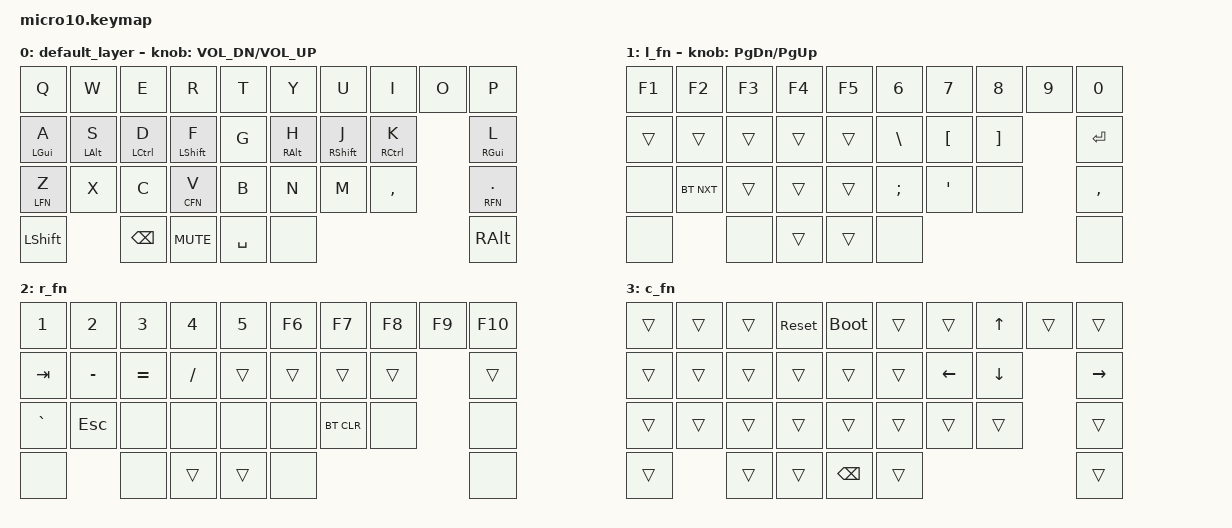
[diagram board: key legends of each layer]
/*
 * Copyright (c) 2020 The ZMK Contributors
 *
 * SPDX-License-Identifier: MIT
 */

#include <behaviors.dtsi>
#include <dt-bindings/zmk/keys.h>
#include <dt-bindings/zmk/bt.h>

#define DEFAULT 0
#define LFN    1
#define RFN    2
#define CFN    3

/ {
    behaviors {
       
        lm: left_homerow_mods {
            compatible = "zmk,behavior-hold-tap";
            label = "LEFT_HOMEROW_MODS";
            #binding-cells = <2>;
            tapping-term-ms = <150>;
            quick-tap-ms = <0>;
            flavor = "balanced";
            bindings = <&kp>, <&kp>;
            hold-trigger-key-positions = <5 6 7 8 9 15 16 17 18 24 25 26 27>;
        };
       
        rm: right_homerow_mods {
            compatible = "zmk,behavior-hold-tap";
            label = "RIGHT_HOMEROW_MODS";
            #binding-cells = <2>;
            tapping-term-ms = <150>;
            quick-tap-ms = <0>;
            flavor = "balanced";
            bindings = <&kp>, <&kp>;
            hold-trigger-key-positions = <0 1 2 3 4 10 11 12 13 14 19 20 21 22 23>;
        };
        
        lht: layer_hold_tap {
            compatible = "zmk,behavior-hold-tap";
            label = "LAYER_HOLD_TAP";
            #binding-cells = <2>;
            tapping-term-ms = <150>;
            quick-tap-ms = <0>;
            flavor = "hold-preferred";
            bindings = <&mo>, <&kp>;
        };

        tht: top_hold_tap {
            compatible = "zmk,behavior-hold-tap";
            label = "TOP_HOLD_TAP";
            #binding-cells = <2>;
            flavor = "hold-preferred";
            tapping-term-ms = <150>;                        // <---[[produces tap if held longer than tapping-term-ms]]
            quick-tap-ms = <0>;
            bindings = <&mo>, <&kp>;
            hold-trigger-key-positions = <7 16 17 18>;
        };

        bht: bottom_hold_tap {
            compatible = "zmk,behavior-hold-tap";
            label = "BOTTOM_HOLD_TAP";
            #binding-cells = <2>;
            flavor = "hold-preferred";
            tapping-term-ms = <200>;                        // <---[[produces tap if held longer than tapping-term-ms]]
            quick-tap-ms = <0>;
            bindings = <&mo>, <&kp>;
            hold-trigger-key-positions = <31>;
        };
    };
};

/ {
    keymap {
        compatible = "zmk,keymap";

        default_layer {
            bindings = <
    &kp Q      &kp W      &kp E       &kp R       &kp T     &kp Y       &kp U       &kp I      &kp O       &kp P
    &lm LGUI A &lm LALT S &lm LCTRL D &lm LSHFT F &kp G     &rm RALT H  &rm RSHFT J &rm RCTRL K            &rm RGUI L
    &lht LFN Z &kp X      &kp C       &bht CFN V  &kp B     &kp N       &kp M       &kp COMMA              &lht RFN DOT
    &kp LSHFT             &kp BSPC    &kp C_MUTE  &kp SPACE &none                                          &kp RALT
            >;
            sensor-bindings = <&inc_dec_kp C_VOL_DN C_VOL_UP>;
        };
        
        l_fn {
            bindings = <
    &kp F1     &kp F2     &kp F3     &kp F4       &kp F5    &kp N6      &kp N7     &kp N8      &kp N9    &kp N0
    &trans     &trans     &trans     &trans       &trans    &kp BSLH    &kp LBKT   &kp RBKT              &kp RET
    &none      &bt BT_NXT &trans     &trans       &trans    &kp SEMI    &kp APOS   &none                 &kp COMMA
    &none                 &none      &trans       &trans    &none                                        &none
            >;
            sensor-bindings = <&inc_dec_kp PG_DN PG_UP>;
        };

        r_fn {
            bindings = <
    &kp N1      &kp N2      &kp N3     &kp N4      &kp N5     &kp F6      &kp F7     &kp F8      &kp F9     &kp F10
    &kp TAB     &kp MINUS   &kp EQUAL  &kp FSLH    &trans     &trans      &trans     &trans                 &trans
    &kp GRAVE   &kp ESC     &none      &none       &none      &none       &bt BT_CLR &none                  &none
    &none                   &none      &trans      &trans     &none                                         &none
            >;
        };

        c_fn {
            bindings = <
    &trans      &trans      &trans     &sys_reset      &bootloader &trans     &trans     &kp UP      &trans     &trans
    &trans      &trans      &trans     &trans      &trans     &trans      &kp LEFT   &kp DOWN               &kp RIGHT
    &trans      &trans      &trans     &trans      &trans     &trans      &trans     &trans                 &trans
    &trans                  &trans     &trans      &kp BSPC   &trans                                        &trans
            >;
        };
    };
};
